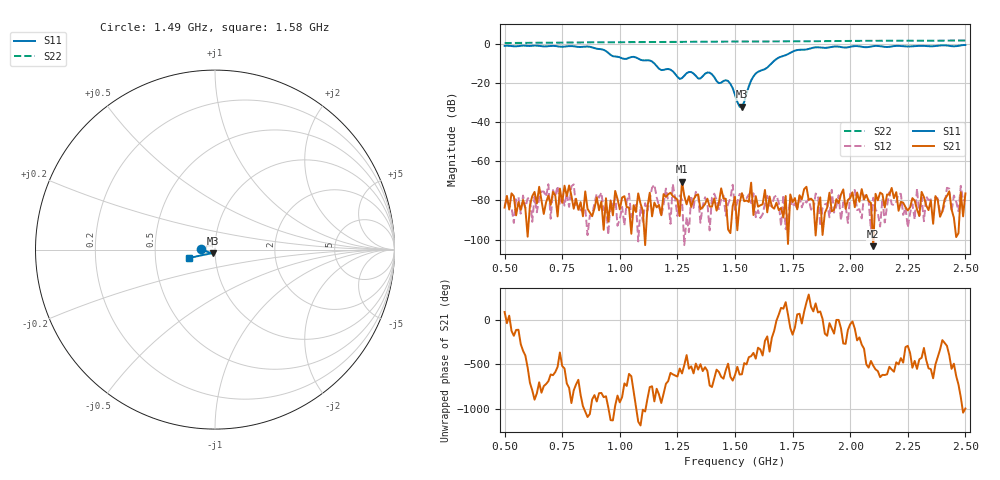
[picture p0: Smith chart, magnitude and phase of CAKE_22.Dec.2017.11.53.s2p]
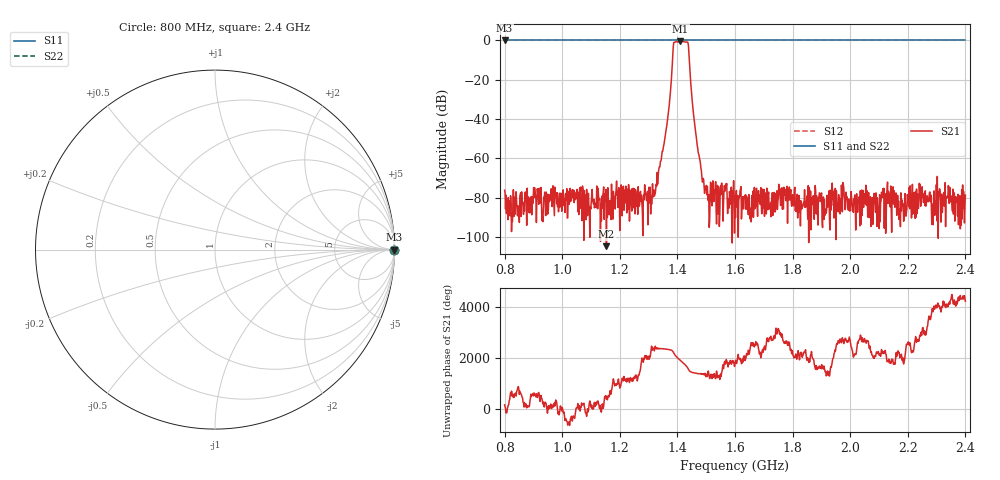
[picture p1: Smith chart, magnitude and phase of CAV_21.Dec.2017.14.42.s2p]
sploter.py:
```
import pylab 
import skrf as rf

n = rf.Network('CAKE_22.Dec.2017.11.53.s2p')
pylab.figure(num=1,figsize=(8.9,5),dpi=150)
pylab.title('Cake Pan Feed')
n.frequency.unit = 'GHz'
n.plot_s_db(m=0,n=0,label='Feed S11')
pylab.savefig('cakeFeed.pdf', bbbox_inches='tight')
pylab.show()

n2 = rf.Network('CAV_21.Dec.2017.14.42.s2p')
pylab.figure(num=2,figsize=(8.9,5),dpi=150)
pylab.title('Cavity Filter')
n2.frequency.unit = 'GHz'
n2.plot_s_db(m=1,n=0,label='Cavity  S21')
pylab.savefig('cavityFilter.pdf', bbbox_inches='tight')
pylab.show()

n3 = rf.Network('CAN_22.Dec.2017.11.52.s2p')
pylab.figure(num=2,figsize=(8.9,5),dpi=150)
pylab.title('Horn Waveguide')
n3.frequency.unit = 'GHz'
n3.plot_s_db(m=0,n=0,label='Cavity  S11')
pylab.savefig('hornWaveguide.pdf', bbbox_inches='tight')
pylab.show()

n4 = rf.Network('RAS1_22.Dec.2017.12.08.s2p')
pylab.figure(num=2,figsize=(8.9,5),dpi=150)
pylab.title('Radio Astronomy Supplies LNA 1')
n4.frequency.unit = 'GHz'
n4.plot_s_db(m=0,n=1,label='LNA S12')
pylab.savefig('RASLNA1.pdf', bbbox_inches='tight')
pylab.show()

n5 = rf.Network('RAS2_22.Dec.2017.12.13.s2p')
pylab.figure(num=2,figsize=(8.9,5),dpi=150)
pylab.title('Radio Astronomy Supplies LNA 2')
n5.frequency.unit = 'GHz'
n5.plot_s_db(m=0,n=1,label='LNA S12')
pylab.savefig('RASLNA2.pdf', bbbox_inches='tight')
pylab.show()

n6 = rf.Network('CANNEW.s2p')
pylab.figure(num=2,figsize=(8.9,5),dpi=150)
pylab.title('Can New')
n6.frequency.unit = 'GHz'
n6.plot_s_db(m=1,n=1,label='Can S22')
pylab.savefig('canNew.pdf', bbbox_inches='tight')
pylab.show()
```
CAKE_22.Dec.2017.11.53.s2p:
!Keysight Technologies N9923A: A.08.18
!Date: Friday, 22 December 2017 11:53:47
!Timezone: (GMT-05:00) Eastern Time (US & Canada)
!Model: N9923A
!Serial: MY52412517
!GPS Latitude:
!GPS Longitude:
!GPS TimeStamp: 0001-01-01 00:00:00Z
!GPS Seconds Since Last Read: 0
!CHECKSUM:1722749015
!Correction: S11(ON Q)S21(ON Q)S12(ON Q)S22(ON Q)
!S2P File: Measurements:S11,S21,S12,S22:
# Hz S DB R 50
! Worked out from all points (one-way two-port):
!   201 points, 500 MHz to 2.5 GHz, reference 50 ohm
!   highest |S21| = -70.32 dB at 1.27 GHz (marker M1); lowest = -103.4 dB at 2.1 GHz (marker M2)
!   lowest |S11| = -32.0 dB at 1.53 GHz (marker M3), VSWR 1.05, Z = 48.6 - j2.07 ohm
!   |S11| at or under -10 dB: 1.152 GHz to 1.657 GHz (505.2 MHz wide, 36 % of centre)
!   |S22| runs from 0.7 to 2.0 dB; largest |S21 - S12| = 0.0004
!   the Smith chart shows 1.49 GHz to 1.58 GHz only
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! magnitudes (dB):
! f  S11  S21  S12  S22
! 500 MHz  -0.8  -83.7  -82.9  0.7
! 870 MHz  -1.3  -86.2  -87.7  1.0
! 1.26 GHz  -17.7  -87.9  -77.4  1.2
! 1.27 GHz  -17.3  -70.3  -79.5  1.3
! 1.29 GHz  -14.8  -82.0  -88.4  1.3
! 1.49 GHz  -22.4  -82.9  -72.0  1.4
! 1.5 GHz  -25.9  -78.1  -84.9  1.4
! 1.53 GHz  -32.0  -76.2  -76.9  1.5
! 1.69 GHz  -6.8  -85.0  -81.2  1.5
! 2.1 GHz  -0.9  -103.4  -78.6  1.8
! 2.5 GHz  -0.3  -76.4  -79.4  2.0
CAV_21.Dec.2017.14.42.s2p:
!Keysight Technologies N9923A: A.08.18
!Date: Thursday, 21 December 2017 14:42:21
!Timezone: (GMT-05:00) Eastern Time (US & Canada)
!Model: N9923A
!Serial: MY52412517
!GPS Latitude:
!GPS Longitude:
!GPS TimeStamp: 0001-01-01 00:00:00Z
!GPS Seconds Since Last Read: 0
!CHECKSUM:2135517836
!Correction: S11()S21(ON Q)S12()S22()
!S2P File: Measurements:S11,S21,S12,S22:
# Hz S DB R 50
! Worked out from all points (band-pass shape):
!   1001 points, 800 MHz to 2.4 GHz, reference 50 ohm
!   highest |S21| = -0.51 dB at 1.41 GHz (marker M1); lowest = -104.7 dB at 1.154 GHz (marker M2)
!   |S21| within 3 dB of the highest: 1.385 GHz to 1.439 GHz (53.27 MHz wide, 3.77 % of centre)
!   lowest |S11| = 0.0 dB at 800 MHz (marker M3)
!   |S11| at or under -10 dB: nowhere
!   |S22| runs from 0.0 to 0.0 dB; largest |S21 - S12| = 1.9
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8e8  0.00 0.0  -76.18 148.0  0.00 0.0  0.00 0.0
1.1536e9  0.00 0.0  -104.67 9.7  0.00 0.0  0.00 0.0
1.3168e9  0.00 0.0  -76.20 -136.3  0.00 0.0  0.00 0.0
1.3808e9  0.00 0.0  -15.89 137.2  0.00 0.0  0.00 0.0
1.3968e9  0.00 0.0  -0.60 -111.6  0.00 0.0  0.00 0.0
1.4096e9  0.00 0.0  -0.51 113.1  0.00 0.0  0.00 0.0
1.4208e9  0.00 0.0  -0.62 -2.0  0.00 0.0  0.00 0.0
1.4352e9  0.00 0.0  -0.83 178.3  0.00 0.0  0.00 0.0
1.4944e9  0.00 0.0  -77.80 -110.1  0.00 0.0  0.00 0.0
1.6e9  0.00 0.0  -79.02 -7.5  0.00 0.0  0.00 0.0
2.4e9  0.00 0.0  -78.68 -77.4  0.00 0.0  0.00 0.0
